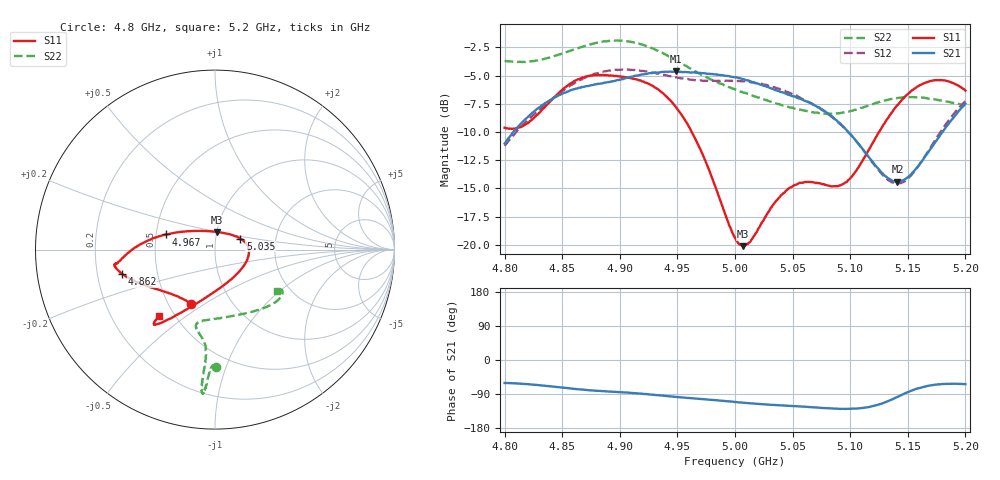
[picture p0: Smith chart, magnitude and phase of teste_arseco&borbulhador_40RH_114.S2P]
! Network Analyzer HP8722D
! Hewlett-Packard
! Data name: Linha & Wilkinson
! Saver's name: Rodrigo Anjos
! Comments: Teste da utilização de aquisição
! continua pelo VNA HP8722D
! Time and date: 15/4/2025 17:18
!  Frequency  S11  S21  S12  S22
# HZ  S  MA R 50
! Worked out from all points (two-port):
!   401 points, 4.8 GHz to 5.2 GHz, reference 50 ohm
!   highest |S21| = -4.63 dB at 4.949 GHz (marker M1); lowest = -14.4 dB at 5.141 GHz (marker M2)
!   |S21| within 3 dB of the highest: 4.833 GHz to 5.069 GHz (236.6 MHz wide, 4.78 % of centre); 5.198668 GHz to end of sweep
!   lowest |S11| = -20.1 dB at 5.007 GHz (marker M3), VSWR 1.22, Z = 50.1 + j9.92 ohm
!   |S11| at or under -10 dB: 4.962 GHz to 5.125 GHz (162.5 MHz wide, 3.22 % of centre)
!   |S22| runs from -8.4 to -1.9 dB; largest |S21 - S12| = 0.88
!   S11 on the Smith chart (normalised r, x): 4.8 GHz: 0.65, -0.44; 4.862 GHz: 0.31, -0.12; 4.967 GHz: 0.57, +0.10; 5.035 GHz: 1.32, +0.17; 5.2 GHz: 0.41, -0.40
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4.8e9  0.3304 -113.5  0.2811 -60.7  0.2747 -175.0  0.653 -89.4
4.819e9  0.3441 -133.4  0.3639 -63.7  0.3524 -173.2  0.6485 -91.1
4.862e9  0.5362 -165.5  0.4925 -76.6  0.5266 -176.3  0.7401 -93.5
4.867e9  0.5493 -167.4  0.5013 -77.9  0.541 -177.2  0.7536 -93.6
4.9e9  0.5574 -172.0  0.5398 -84.9  0.5961 175.9  0.8039 -95.1
4.934e9  0.4857 -177.8  0.5796 -93.3  0.5748 172.2  0.7201 -95.6
4.949e9  0.406 175.1  0.5871 -97.5  0.5527 172.3  0.6567 -95.1
4.967e9  0.2849 162.8  0.5795 -102.0  0.5357 174.0  0.5821 -94.9
5e9  0.1076 107.6  0.5525 -110.8  0.5339 176.4  0.4885 -99.1
5.007e9  0.09871 84.0  0.5418 -112.6  0.5298 176.6  0.4738 -100.8
5.015e9  0.1066 59.2  0.5261 -114.6  0.5239 176.1  0.4594 -102.5
5.035e9  0.1548 23.4  0.4851 -118.9  0.4972 175.3  0.4241 -103.8
5.05e9  0.1819 7.5  0.4563 -121.4  0.464 174.5  0.4054 -100.3
5.067e9  0.1899 -10.9  0.4202 -124.6  0.4228 174.1  0.3872 -91.9
5.087e9  0.1818 -43.3  0.3597 -128.5  0.359 173.9  0.3821 -76.9
5.098e9  0.1929 -66.7  0.3186 -128.9  0.3161 174.6  0.3892 -67.8
5.134e9  0.3726 -115.8  0.1958 -107.0  0.1921 -159.8  0.4413 -43.4
5.141e9  0.4162 -119.8  0.1904 -97.1  0.1866 -148.8  0.4474 -40.2
5.153e9  0.4806 -124.7  0.2058 -81.1  0.2033 -130.4  0.4514 -35.9
5.17e9  0.5321 -128.3  0.2669 -66.9  0.2716 -112.9  0.4441 -32.0
5.184e9  0.5321 -129.7  0.3369 -62.9  0.3482 -107.1  0.4313 -31.1
5.2e9  0.483 -130.2  0.4223 -63.9  0.4337 -106.0  0.4152 -33.3
